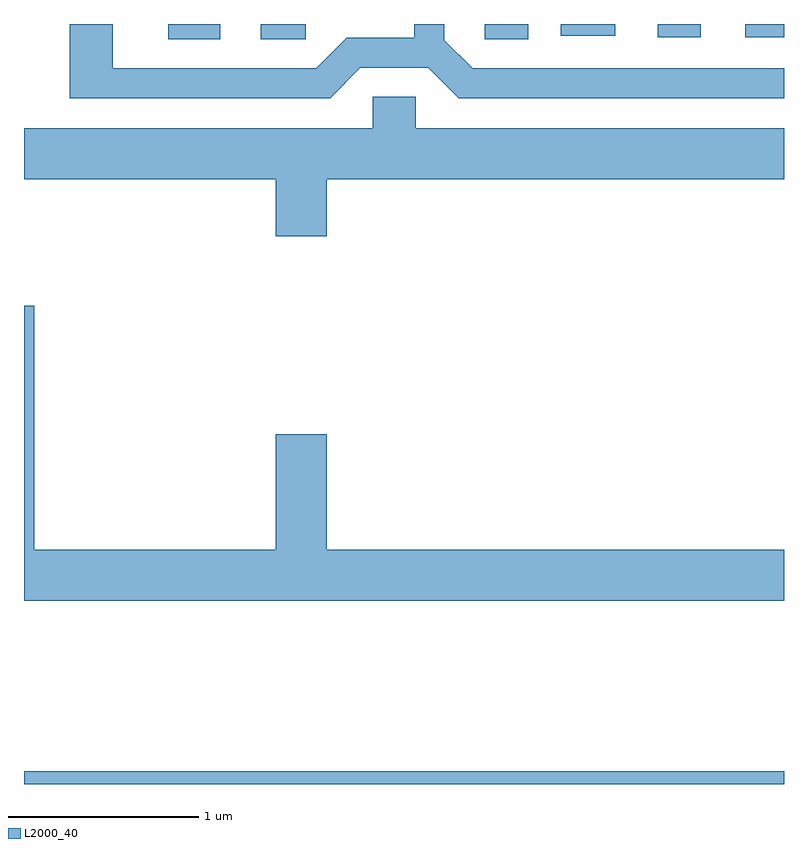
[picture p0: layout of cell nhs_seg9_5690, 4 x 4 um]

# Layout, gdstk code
import gdstk
lib = gdstk.Library(unit=1e-6, precision=1e-09)
def R(c, l, rs):  # rectangles x0, y0, x1, y1
    for r in rs: c.add(gdstk.rectangle(r[:2], r[2:], *l))
def P(c, l, *ps):  # polygons
    for p in ps: c.add(gdstk.Polygon(p, *l))
L2000_40 = (2000, 40)

nhs_seg9_5690 = lib.new_cell('nhs_seg9_5690')
R(nhs_seg9_5690, L2000_40, [(353.611,1966.432,357.611,1966.499), (354.371,1970.351,354.643,1970.432), (354.856,1970.351,355.093,1970.432), (356.036,1970.351,356.264,1970.432), (356.946,1970.361,357.174,1970.432), (357.406,1970.361,357.611,1970.432), (356.436,1970.371,356.723,1970.432)])
P(nhs_seg9_5690, L2000_40, [(355.382,1970.201),(355.739,1970.201),(355.899,1970.041),(357.611,1970.041),(357.611,1970.199),(355.972,1970.199),(355.824,1970.347),(355.824,1970.432),(355.666,1970.432),(355.666,1970.359),(355.309,1970.359),(355.149,1970.199),(354.079,1970.199),(354.079,1970.432),(353.851,1970.432),(353.851,1970.041),(355.222,1970.041)],
  [(355.204,1969.616),(357.611,1969.616),(357.611,1969.884),(355.674,1969.884),(355.674,1970.049),(355.446,1970.049),(355.446,1969.884),(353.611,1969.884),(353.611,1969.616),(354.936,1969.616),(354.936,1969.316),(355.204,1969.316)],
  [(357.611,1967.664),(355.204,1967.664),(355.204,1968.274),(354.936,1968.274),(354.936,1967.664),(353.664,1967.664),(353.664,1968.949),(353.611,1968.949),(353.611,1967.396),(357.611,1967.396)])

lib.write_gds('nhs_seg9_5690.gds')
